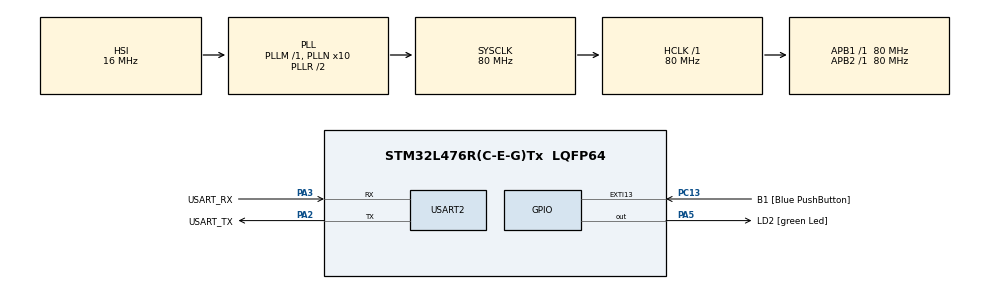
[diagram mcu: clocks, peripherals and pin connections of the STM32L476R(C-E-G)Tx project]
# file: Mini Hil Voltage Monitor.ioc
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FREERTOS.Queues01=VoltageQueue,10,float,0,Dynamic,NULL,NULL
FREERTOS.Tasks01=Task_Sim,40,128,StartSimTask,Default,NULL,Dynamic,NULL,NULL;Task_Filter,24,128,StartFilterTask,Default,NULL,Dynamic,NULL,NULL;Task_UART,8,128,StartUARTTask,Default,NULL,Dynamic,NULL,NULL
Mcu.Family=STM32L4
Mcu.Name=STM32L476R(C-E-G)Tx
Mcu.Package=LQFP64
NVIC.PriorityGroup=NVIC_PRIORITYGROUP_4
NVIC.TIM6_DAC_IRQn=true\:15\:0\:false\:false\:true\:false\:false\:true\:true
NVIC.TimeBase=TIM6_DAC_IRQn
NVIC.TimeBaseIP=TIM6
NVIC.USART2_IRQn=true\:5\:0\:false\:false\:true\:true\:true\:true\:true
PA13\ (JTMS-SWDIO).GPIO_Label=TMS
PA13\ (JTMS-SWDIO).Mode=Serial_Wire
PA13\ (JTMS-SWDIO).Signal=SYS_JTMS-SWDIO
PA14\ (JTCK-SWCLK).GPIO_Label=TCK
PA14\ (JTCK-SWCLK).Mode=Serial_Wire
PA14\ (JTCK-SWCLK).Signal=SYS_JTCK-SWCLK
PA2.GPIO_Label=USART_TX
PA2.GPIO_Mode=GPIO_MODE_AF_PP
PA2.GPIO_PuPd=GPIO_NOPULL
PA2.GPIO_Speed=GPIO_SPEED_FREQ_VERY_HIGH
PA2.Mode=Asynchronous
PA2.Signal=USART2_TX
PA3.GPIO_Label=USART_RX
PA3.GPIO_Mode=GPIO_MODE_AF_PP
PA3.GPIO_PuPd=GPIO_NOPULL
PA3.GPIO_Speed=GPIO_SPEED_FREQ_VERY_HIGH
PA3.Mode=Asynchronous
PA3.Signal=USART2_RX
PA5.GPIO_Label=LD2 [green Led]
PA5.GPIO_ModeDefaultOutputPP=GPIO_MODE_OUTPUT_PP
PA5.GPIO_PuPd=GPIO_NOPULL
PA5.GPIO_Speed=GPIO_SPEED_FREQ_LOW
PA5.Signal=GPIO_Output
PB3\ (JTDO-TRACESWO).GPIO_Label=SWO
PB3\ (JTDO-TRACESWO).Signal=SYS_JTDO-SWO
PC13.GPIO_Label=B1 [Blue PushButton]
PC13.GPIO_ModeDefaultEXTI=GPIO_MODE_IT_FALLING
PC13.GPIO_PuPd=GPIO_NOPULL
PC13.Signal=GPXTI13
PC14-OSC32_IN\ (PC14).Mode=LSE-External-Oscillator
PC14-OSC32_IN\ (PC14).Signal=RCC_OSC32_IN
PC15-OSC32_OUT\ (PC15).Mode=LSE-External-Oscillator
PC15-OSC32_OUT\ (PC15).Signal=RCC_OSC32_OUT
PH0-OSC_IN\ (PH0).Signal=RCC_OSC_IN
PH1-OSC_OUT\ (PH1).Signal=RCC_OSC_OUT
ProjectManager.HeapSize=0x200
ProjectManager.StackSize=0x400
ProjectManager.TargetToolchain=STM32CubeIDE
RCC.ADCFreq_Value=64000000
RCC.AHBFreq_Value=80000000
RCC.APB1Freq_Value=80000000
RCC.APB1TimFreq_Value=80000000
RCC.APB2Freq_Value=80000000
RCC.APB2TimFreq_Value=80000000
RCC.CortexFreq_Value=80000000
RCC.HCLKFreq_Value=80000000
RCC.HSE_VALUE=8000000
RCC.HSI_VALUE=16000000
RCC.MSI_VALUE=4000000
RCC.PLLN=10
RCC.PLLSourceVirtual=RCC_PLLSOURCE_HSI
RCC.PREFETCH_ENABLE=1
RCC.SYSCLKFreq_VALUE=80000000
RCC.SYSCLKSource=RCC_SYSCLKSOURCE_PLLCLK
RCC.USBFreq_Value=64000000
RCC.VCOOutputFreq_Value=160000000
USART2.VirtualMode-Asynchronous=VM_ASYNC
VP_FREERTOS_VS_CMSIS_V2.Mode=CMSIS_V2
VP_SYS_VS_tim6.Mode=TIM6
board=NUCLEO-L476RG

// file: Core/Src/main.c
/* USER CODE BEGIN Header */
/**
  ******************************************************************************
  * @file           : main.c
  * @brief          : Main program body
  ******************************************************************************
  * @attention
  *
  * Copyright (c) 2026 STMicroelectronics.
  * All rights reserved.
  *
  * This software is licensed under terms that can be found in the LICENSE file
  * in the root directory of this software component.
  * If no LICENSE file comes with this software, it is provided AS-IS.
  *
  ******************************************************************************
  */
/* USER CODE END Header */
#include "main.h"
#include "cmsis_os.h"

/* USER CODE BEGIN Includes */
#include "math.h"
#include "stdlib.h"
#include "stdio.h"
/* USER CODE END Includes */

UART_HandleTypeDef huart2;

/* Definitions for Task_Sim */
osThreadId_t Task_SimHandle;
const osThreadAttr_t Task_Sim_attributes = {
  .name = "Task_Sim",
  .stack_size = 128 * 4,
  .priority = (osPriority_t) osPriorityHigh,
};
/* Definitions for Task_Filter */
osThreadId_t Task_FilterHandle;
const osThreadAttr_t Task_Filter_attributes = {
  .name = "Task_Filter",
  .stack_size = 128 * 4,
  .priority = (osPriority_t) osPriorityNormal,
};
/* Definitions for Task_UART */
osThreadId_t Task_UARTHandle;
const osThreadAttr_t Task_UART_attributes = {
  .name = "Task_UART",
  .stack_size = 128 * 4,
  .priority = (osPriority_t) osPriorityLow,
};
/* Definitions for VoltageQueue */
osMessageQueueId_t VoltageQueueHandle;
const osMessageQueueAttr_t VoltageQueue_attributes = {
  .name = "VoltageQueue"
};
/* USER CODE BEGIN PV */
volatile float Global_Filtered_Voltage = 0.0f;
volatile char SimulationMode = 'N';
volatile char RxBuffer[1];
/* USER CODE END PV */

void SystemClock_Config(void);
static void MX_GPIO_Init(void);
static void MX_USART2_UART_Init(void);
void StartSimTask(void *argument);
void StartFilterTask(void *argument);
void StartUARTTask(void *argument);

int main(void)
{

  /* MCU Configuration--------------------------------------------------------*/

  /* Reset of all peripherals, Initializes the Flash interface and the Systick. */
  HAL_Init();

  /* Configure the system clock */
  SystemClock_Config();

  /* Initialize all configured peripherals */
  MX_GPIO_Init();
  MX_USART2_UART_Init();
  /* USER CODE BEGIN 2 */
  HAL_UART_Receive_IT(&huart2, (uint8_t *)RxBuffer, 1);
  /* USER CODE END 2 */

  /* Init scheduler */
  osKernelInitialize();

  /* Create the queue(s) */
  /* creation of VoltageQueue */
  VoltageQueueHandle = osMessageQueueNew (10, sizeof(float), &VoltageQueue_attributes);

  /* Create the thread(s) */
  /* creation of Task_Sim */
  Task_SimHandle = osThreadNew(StartSimTask, NULL, &Task_Sim_attributes);

  /* creation of Task_Filter */
  Task_FilterHandle = osThreadNew(StartFilterTask, NULL, &Task_Filter_attributes);

  /* creation of Task_UART */
  Task_UARTHandle = osThreadNew(StartUARTTask, NULL, &Task_UART_attributes);

  /* Start scheduler */
  osKernelStart();

  /* We should never get here as control is now taken by the scheduler */

  /* Infinite loop */
  while (1)
  {

  }
}

void SystemClock_Config(void)
{
  RCC_OscInitTypeDef RCC_OscInitStruct = {0};
  RCC_ClkInitTypeDef RCC_ClkInitStruct = {0};

  /** Configure the main internal regulator output voltage
  */
  if (HAL_PWREx_ControlVoltageScaling(PWR_REGULATOR_VOLTAGE_SCALE1) != HAL_OK)
  {
    Error_Handler();
  }

  /** Initializes the RCC Oscillators according to the specified parameters
  * in the RCC_OscInitTypeDef structure.
  */
  RCC_OscInitStruct.OscillatorType = RCC_OSCILLATORTYPE_HSI;
  RCC_OscInitStruct.HSIState = RCC_HSI_ON;
  RCC_OscInitStruct.HSICalibrationValue = RCC_HSICALIBRATION_DEFAULT;
  RCC_OscInitStruct.PLL.PLLState = RCC_PLL_ON;
  RCC_OscInitStruct.PLL.PLLSource = RCC_PLLSOURCE_HSI;
  RCC_OscInitStruct.PLL.PLLM = 1;
  RCC_OscInitStruct.PLL.PLLN = 10;
  RCC_OscInitStruct.PLL.PLLP = RCC_PLLP_DIV7;
  RCC_OscInitStruct.PLL.PLLQ = RCC_PLLQ_DIV2;
  RCC_OscInitStruct.PLL.PLLR = RCC_PLLR_DIV2;
  if (HAL_RCC_OscConfig(&RCC_OscInitStruct) != HAL_OK)
  {
    Error_Handler();
  }

  /** Initializes the CPU, AHB and APB buses clocks
  */
  RCC_ClkInitStruct.ClockType = RCC_CLOCKTYPE_HCLK|RCC_CLOCKTYPE_SYSCLK
                              |RCC_CLOCKTYPE_PCLK1|RCC_CLOCKTYPE_PCLK2;
  RCC_ClkInitStruct.SYSCLKSource = RCC_SYSCLKSOURCE_PLLCLK;
  RCC_ClkInitStruct.AHBCLKDivider = RCC_SYSCLK_DIV1;
  RCC_ClkInitStruct.APB1CLKDivider = RCC_HCLK_DIV1;
  RCC_ClkInitStruct.APB2CLKDivider = RCC_HCLK_DIV1;

  if (HAL_RCC_ClockConfig(&RCC_ClkInitStruct, FLASH_LATENCY_4) != HAL_OK)
  {
    Error_Handler();
  }
}

static void MX_USART2_UART_Init(void)
{

  huart2.Instance = USART2;
  huart2.Init.BaudRate = 115200;
  huart2.Init.WordLength = UART_WORDLENGTH_8B;
  huart2.Init.StopBits = UART_STOPBITS_1;
  huart2.Init.Parity = UART_PARITY_NONE;
  huart2.Init.Mode = UART_MODE_TX_RX;
  huart2.Init.HwFlowCtl = UART_HWCONTROL_NONE;
  huart2.Init.OverSampling = UART_OVERSAMPLING_16;
  huart2.Init.OneBitSampling = UART_ONE_BIT_SAMPLE_DISABLE;
  huart2.AdvancedInit.AdvFeatureInit = UART_ADVFEATURE_NO_INIT;
  if (HAL_UART_Init(&huart2) != HAL_OK)
  {
    Error_Handler();
  }

}

static void MX_GPIO_Init(void)
{
  GPIO_InitTypeDef GPIO_InitStruct = {0};

  /* GPIO Ports Clock Enable */
  __HAL_RCC_GPIOC_CLK_ENABLE();
  __HAL_RCC_GPIOH_CLK_ENABLE();
  __HAL_RCC_GPIOA_CLK_ENABLE();
  __HAL_RCC_GPIOB_CLK_ENABLE();

  /*Configure GPIO pin Output Level */
  HAL_GPIO_WritePin(LD2_GPIO_Port, LD2_Pin, GPIO_PIN_RESET);

  /*Configure GPIO pin : B1_Pin */
  GPIO_InitStruct.Pin = B1_Pin;
  GPIO_InitStruct.Mode = GPIO_MODE_IT_FALLING;
  GPIO_InitStruct.Pull = GPIO_NOPULL;
  HAL_GPIO_Init(B1_GPIO_Port, &GPIO_InitStruct);

  /*Configure GPIO pin : LD2_Pin */
  GPIO_InitStruct.Pin = LD2_Pin;
  GPIO_InitStruct.Mode = GPIO_MODE_OUTPUT_PP;
  GPIO_InitStruct.Pull = GPIO_NOPULL;
  GPIO_InitStruct.Speed = GPIO_SPEED_FREQ_LOW;
  HAL_GPIO_Init(LD2_GPIO_Port, &GPIO_InitStruct);

}

/* USER CODE BEGIN 4 */
void HAL_UART_RxCpltCallback(UART_HandleTypeDef *huart){
	if (huart->Instance == USART2) {
		SimulationMode = RxBuffer[0];
	    HAL_UART_Receive_IT(&huart2, (uint8_t *)RxBuffer, 1);
	    }
	HAL_UART_Receive_IT(&huart2, RxBuffer, 1);
  }
/* USER CODE END 4 */

void StartSimTask(void *argument)
{
  /* USER CODE BEGIN 5 */
  uint32_t tick = 0;
  float simulated_voltage = 3.7f;
  /* Infinite loop */
  for(;;)
  {
	  switch(SimulationMode){
	  case 'N':
	  	  tick = HAL_GetTick();
	  	  simulated_voltage = 3.7f + 0.5f * sin(tick * 0.001f) + (float)((rand() % 100)/1000.0f);
	  break;
	  case 'C':
		  simulated_voltage = simulated_voltage + 0.05f;
	  break;
	  case 'D':
		  simulated_voltage = simulated_voltage - 0.05f;

	  break;
	  case 'X':
		  simulated_voltage = 0.0f;
	  break;
	  case 'E':
		  simulated_voltage = simulated_voltage - 0.001f;
		  if(simulated_voltage < 3.0f) simulated_voltage = 3.0f;
	  break;
	  }
	  osMessageQueuePut(VoltageQueueHandle, &simulated_voltage, 0, 0);
      osDelay(100);
  }
  /* USER CODE END 5 */
}

void StartFilterTask(void *argument)
{
  /* USER CODE BEGIN StartFilterTask */
  float received_val = 0.0f;
  static float sum = 0.0f;
  // Circular Buffer
  static float buffer[10] = {0};
  static uint8_t head = 0;
  static uint8_t count = 0;

  /* Infinite loop */
  for(;;)
  {
	osMessageQueueGet(VoltageQueueHandle, &received_val, 0, 100);
	sum = sum - buffer[head];
	sum = sum + received_val;
	//insert received_val in the buffer array
	buffer[head] = received_val;
	head = (head + 1) % 10;

	if(count < 10) count++;

	float average = sum / (float) count;

	Global_Filtered_Voltage = average;
	if (Global_Filtered_Voltage > 4.1f || Global_Filtered_Voltage < 3.0f) {
		HAL_GPIO_WritePin(LD2_GPIO_Port, LD2_Pin, GPIO_PIN_SET);
	} else {
		HAL_GPIO_WritePin(LD2_GPIO_Port, LD2_Pin, GPIO_PIN_RESET);
	}
  }
  /* USER CODE END StartFilterTask */
}

void StartUARTTask(void *argument)
{
  /* USER CODE BEGIN StartUARTTask */
  char text[50];
  uint8_t IntPart, DecPart;
  /* Infinite loop */
  for(;;)
  {
	IntPart = (int)Global_Filtered_Voltage;
	DecPart = (int)((Global_Filtered_Voltage - IntPart) * 100);
	sprintf(text, "Bat: %d.%02d V\r\n", IntPart, DecPart);
	HAL_UART_Transmit(&huart2, (uint8_t*)text, strlen(text), 100);
	osDelay(100);
  }
  /* USER CODE END StartUARTTask */
}

void HAL_TIM_PeriodElapsedCallback(TIM_HandleTypeDef *htim)
{
  if (htim->Instance == TIM6)
  {
    HAL_IncTick();
  }
}

void Error_Handler(void)
{
  __disable_irq();
  while (1)
  {
  }
}
